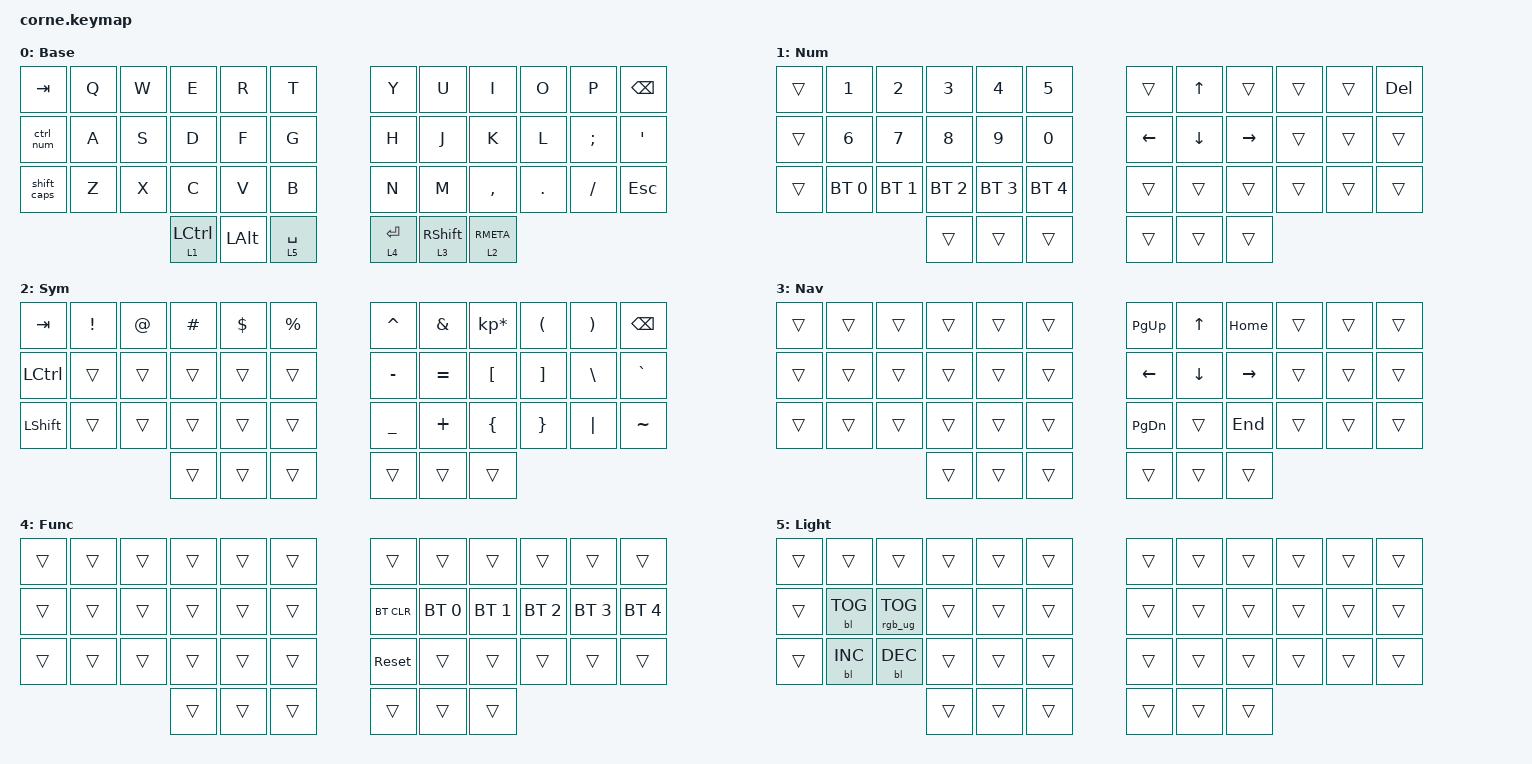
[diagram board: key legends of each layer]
/*
 * Copyright (c) 2020 The ZMK Contributors
 *
 * SPDX-License-Identifier: MIT
 */

#include <behaviors.dtsi>
#include <dt-bindings/zmk/backlight.h>
#include <dt-bindings/zmk/bt.h>
#include <dt-bindings/zmk/keys.h>
#include <dt-bindings/zmk/rgb.h>

/ {
    combos { compatible = "zmk,combos"; };

    behaviors {
        ctrl_num: ctrl_num {
            compatible = "zmk,behavior-mod-morph";
            label = "CTRL_NUM";
            bindings = <&kp LCTRL>, <&mo 1>;

            #binding-cells = <0>;
            mods = <(MOD_LCTL)>;
            keep-mods = <(MOD_LCTL)>;
        };

        shift_caps: shift_caps {
            compatible = "zmk,behavior-tap-dance";
            label = "SHIFT_CAPS";
            #binding-cells = <0>;
            bindings = <&kp LSHIFT>, <&kt CAPS>;
        };
    };

    keymap {
        compatible = "zmk,keymap";

        Base {
            display-name = "Base";

            // -----------------------------------------------------------------------------------------
            // |  TAB |  Q  |  W  |  E  |  R  |  T  |   |  Y  |  U   |  I  |  O  |  P  | BKSP |
            // | CTRL |  A  |  S  |  D  |  F  |  G  |   |  H  |  J   |  K  |  L  |  ;  |  '   |
            // | SHFT |  Z  |  X  |  C  |  V  |  B  |   |  N  |  M   |  ,  |  .  |  /  | ESC  |
            //                    | GUI | LWR | SPC |   | ENT | RSE  | ALT |

            bindings = <
&kp TAB      &kp Q  &kp W  &kp E        &kp R     &kp T          &kp Y        &kp U              &kp I        &kp O    &kp P     &kp BSPC
&ctrl_num    &kp A  &kp S  &kp D        &kp F     &kp G          &kp H        &kp J              &kp K        &kp L    &kp SEMI  &kp SQT
&shift_caps  &kp Z  &kp X  &kp C        &kp V     &kp B          &kp N        &kp M              &kp COMMA    &kp DOT  &kp FSLH  &kp ESC
                           &lt 1 LCTRL  &kp LALT  &lt 5 SPACE    &lt 4 ENTER  &lt 3 RIGHT_SHIFT  &lt 2 RMETA
            >;
        };

        Num {
            display-name = "Num";

            // -----------------------------------------------------------------------------------------
            // |  TAB |  1  |  2  |  3  |  4  |  5  |   |  6  |  7  |  8  |  9  |  0  | BKSP |
            // | BTCLR| BT1 | BT2 | BT3 | BT4 | BT5 |   | LFT | DWN |  UP | RGT |     |      |
            // | SHFT |     |     |     |     |     |   |     |     |     |     |     |      |
            //                    | GUI |     | SPC |   | ENT |     | ALT |

            bindings = <
&trans  &kp N1        &kp N2        &kp N3        &kp N4        &kp N5          &trans    &kp UP_ARROW  &trans     &trans  &trans  &kp DEL
&trans  &kp N6        &kp N7        &kp N8        &kp N9        &kp N0          &kp LEFT  &kp DOWN      &kp RIGHT  &trans  &trans  &trans
&trans  &bt BT_SEL 0  &bt BT_SEL 1  &bt BT_SEL 2  &bt BT_SEL 3  &bt BT_SEL 4    &trans    &trans        &trans     &trans  &trans  &trans
                                    &trans        &trans        &trans          &trans    &trans        &trans
            >;
        };

        Sym {
            display-name = "Sym";

            // -----------------------------------------------------------------------------------------
            // |  TAB |  !  |  @  |  #  |  $  |  %  |   |  ^  |  &  |  *  |  (  |  )  | BKSP |
            // | CTRL |     |     |     |     |     |   |  -  |  =  |  [  |  ]  |  \  |  `   |
            // | SHFT |     |     |     |     |     |   |  _  |  +  |  {  |  }  | "|" |  ~   |
            //                    | GUI |     | SPC |   | ENT |     | ALT |

            bindings = <
&kp TAB    &kp EXCL  &kp AT  &kp HASH  &kp DLLR  &kp PRCNT    &kp CARET  &kp AMPS   &kp KP_MULTIPLY  &kp LPAR  &kp RPAR  &kp BSPC
&kp LCTRL  &trans    &trans  &trans    &trans    &trans       &kp MINUS  &kp EQUAL  &kp LBKT         &kp RBKT  &kp BSLH  &kp GRAVE
&kp LSHFT  &trans    &trans  &trans    &trans    &trans       &kp UNDER  &kp PLUS   &kp LBRC         &kp RBRC  &kp PIPE  &kp TILDE
                             &trans    &trans    &trans       &trans     &trans     &trans
            >;
        };

        Nav {
            display-name = "Nav";
            bindings = <
&trans  &trans  &trans  &trans  &trans  &trans    &kp PAGE_UP    &kp UP_ARROW  &kp HOME   &trans  &trans  &trans
&trans  &trans  &trans  &trans  &trans  &trans    &kp LEFT       &kp DOWN      &kp RIGHT  &trans  &trans  &trans
&trans  &trans  &trans  &trans  &trans  &trans    &kp PAGE_DOWN  &trans        &kp END    &trans  &trans  &trans
                        &trans  &trans  &trans    &trans         &trans        &trans
            >;
        };

        Func {
            display-name = "Func";
            bindings = <
&trans  &trans  &trans  &trans  &trans  &trans    &trans      &trans        &trans        &trans        &trans        &trans
&trans  &trans  &trans  &trans  &trans  &trans    &bt BT_CLR  &bt BT_SEL 0  &bt BT_SEL 1  &bt BT_SEL 2  &bt BT_SEL 3  &bt BT_SEL 4
&trans  &trans  &trans  &trans  &trans  &trans    &sys_reset  &trans        &trans        &trans        &trans        &trans
                        &trans  &trans  &trans    &trans      &trans        &trans
            >;
        };

        Light {
            display-name = "Light";
            bindings = <
&trans  &trans      &trans           &trans  &trans  &trans    &trans  &trans  &trans  &trans  &trans  &trans
&trans  &bl BL_TOG  &rgb_ug RGB_TOG  &trans  &trans  &trans    &trans  &trans  &trans  &trans  &trans  &trans
&trans  &bl BL_INC  &bl BL_DEC       &trans  &trans  &trans    &trans  &trans  &trans  &trans  &trans  &trans
                                     &trans  &trans  &trans    &trans  &trans  &trans
            >;
        };
    };
};

/* BS Corne bodge */

&nice_view_spi { cs-gpios = <&pro_micro 16 GPIO_ACTIVE_HIGH>; };

&led_strip {
    chain-length = <27>;
};
